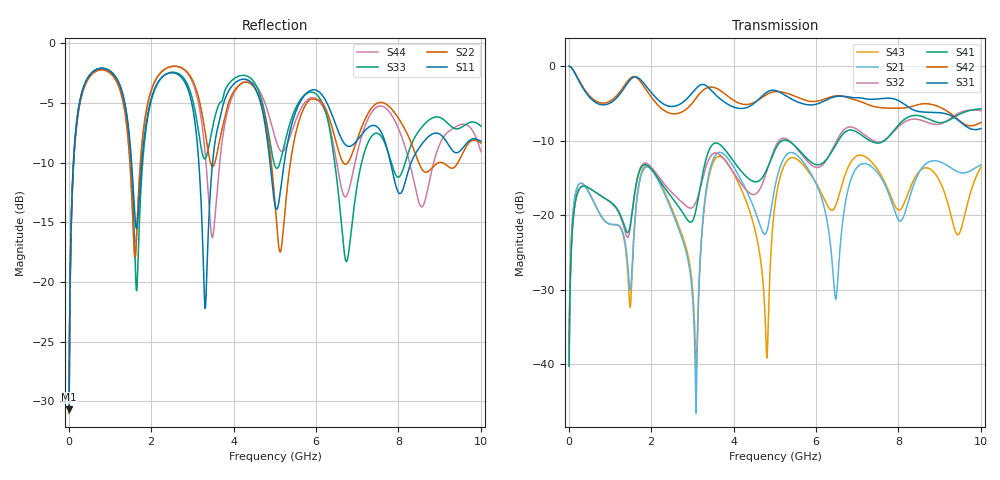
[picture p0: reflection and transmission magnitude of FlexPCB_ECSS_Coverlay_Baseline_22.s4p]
! TOUCHSTONE file generated by CST MICROWAVE STUDIO
! Date and time: Sun Jul  5 19:09:45 2026
! Project name: FlexPCB_ECSS_Coverlay_Baseline.cst
! Parameters = {Gap=1; GroundW=7.4; Hadh=0.025; Hcov=0.025; Hsub=0.1; L=50; Tcu=0.035; W=0.14}
! Header version: 2024
! Port assignment regex: !\s*Touchstone port\s*([0-9]+)\s*=\s*(CST MWS port|CST DES external port|CST DES block port)\s*(.+)\s* \(\"(.*)\"\)(\s*mode\s*([0-9]+))?.*
! Touchstone port assignment:
! Touchstone port 1 = CST MWS port 1 ("")
! Touchstone port 2 = CST MWS port 2 ("")
! Touchstone port 3 = CST MWS port 3 ("")
! Touchstone port 4 = CST MWS port 4 ("")
# GHz S MA R 50
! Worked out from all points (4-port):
!   1002 points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, 10 MHz to 10 GHz, reference 50 ohm
!   strongest paths, dB at 10 MHz, 2.51 GHz, 5.01 GHz, 7.503 GHz, 10 GHz:
!     S31: 0.0, -5.4, -3.3, -4.4, -8.4
!     S42: 0.0, -6.4, -3.4, -5.5, -7.6
!     S41: -40.3, -17.7, -11.2, -10.3, -5.7
!     S32: -40.3, -17.0, -10.9, -10.2, -6.0
!     S21: -39.0, -19.6, -16.0, -14.4, -13.3
!     S43: -39.0, -19.2, -18.4, -14.0, -13.6
!   lowest |S11| = -30.7 dB at 10 MHz (marker M1), VSWR 1.06, Z = 49.9 - j2.92 ohm
!   |S11| at or under -10 dB: 3.157 GHz to 3.49 GHz (333.7 MHz wide, 10 % of centre); 4.883 GHz to 5.23 GHz (347 MHz wide, 6.86 % of centre); 7.806 GHz to 8.307 GHz (500.5 MHz wide, 6.21 % of centre)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
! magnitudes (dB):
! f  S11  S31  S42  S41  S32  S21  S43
! 10 MHz  -30.7  0.0  0.0  -40.3  -40.3  -39.0  -39.0
! 670 MHz  -2.2  -4.9  -4.7  -17.0  -17.0  -18.9  -18.9
! 3.08 GHz  -7.1  -3.1  -4.4  -19.5  -18.4  -44.5  -38.7
! 3.61 GHz  -7.2  -4.1  -3.1  -10.4  -11.7  -11.7  -12.2
! 4.8 GHz  -7.6  -3.5  -3.8  -13.9  -14.2  -22.3  -38.6
! 5.34 GHz  -7.8  -4.2  -3.7  -10.1  -10.0  -11.7  -12.5
! 10 GHz  -8.2  -8.4  -7.6  -5.7  -6.0  -13.3  -13.6
